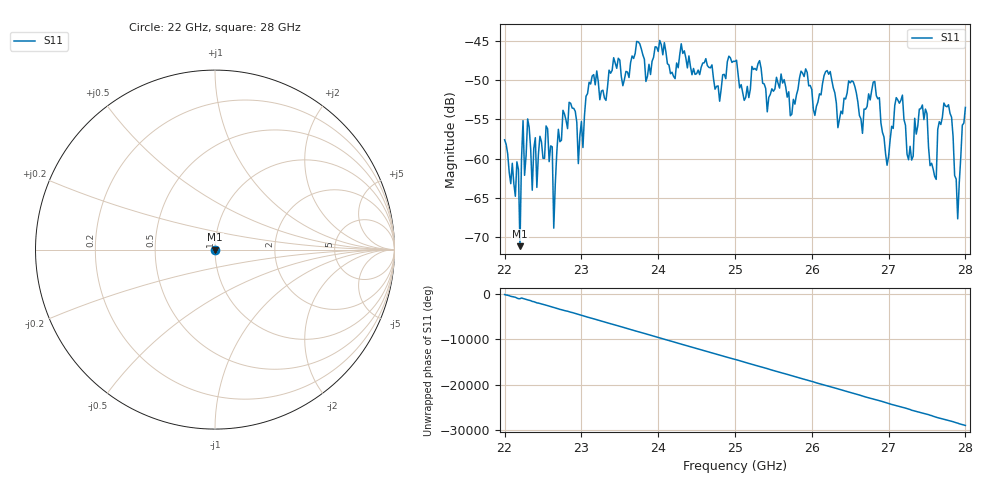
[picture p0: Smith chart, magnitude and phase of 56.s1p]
#  HZ  S  RI  R  50.00
! Rohde & Schwarz ZVA40 4Ports - Version 3.90 - 1145.1110k42 SN: 100403
! Date: 2023-10-04 06:29:34
! Measurement: S12
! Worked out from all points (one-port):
!   301 points, 22 GHz to 28 GHz, reference 50 ohm
!   lowest |S11| = -71.1 dB at 22.2 GHz (marker M1), VSWR 1.00, Z = 50 - j2.82e-05 ohm
!   |S11| at or under -10 dB: start of sweep to end of sweep
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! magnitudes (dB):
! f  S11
! 22 GHz  -57.6
! 22.18 GHz  -61.4
! 22.2 GHz  -71.1
! 22.24 GHz  -55.1
! 22.26 GHz  -62.1
! 22.3 GHz  -54.9
! 22.36 GHz  -64.0
! 22.56 GHz  -56.2
! 22.62 GHz  -58.5
! 22.64 GHz  -68.8
! 22.76 GHz  -53.8
! 22.96 GHz  -60.6
! 23.1 GHz  -50.3
! 23.5 GHz  -47.4
! 24.26 GHz  -48.4
! 25 GHz  -47.6
! 25.76 GHz  -52.4
! 26.5 GHz  -50.3
! 26.66 GHz  -56.8
! 26.82 GHz  -50.2
! 26.98 GHz  -60.8
! 27.18 GHz  -51.9
! 27.26 GHz  -60.1
! 27.44 GHz  -53.2
! 27.62 GHz  -62.6
! 27.78 GHz  -53.1
! 27.9 GHz  -67.7
! 28 GHz  -53.5
